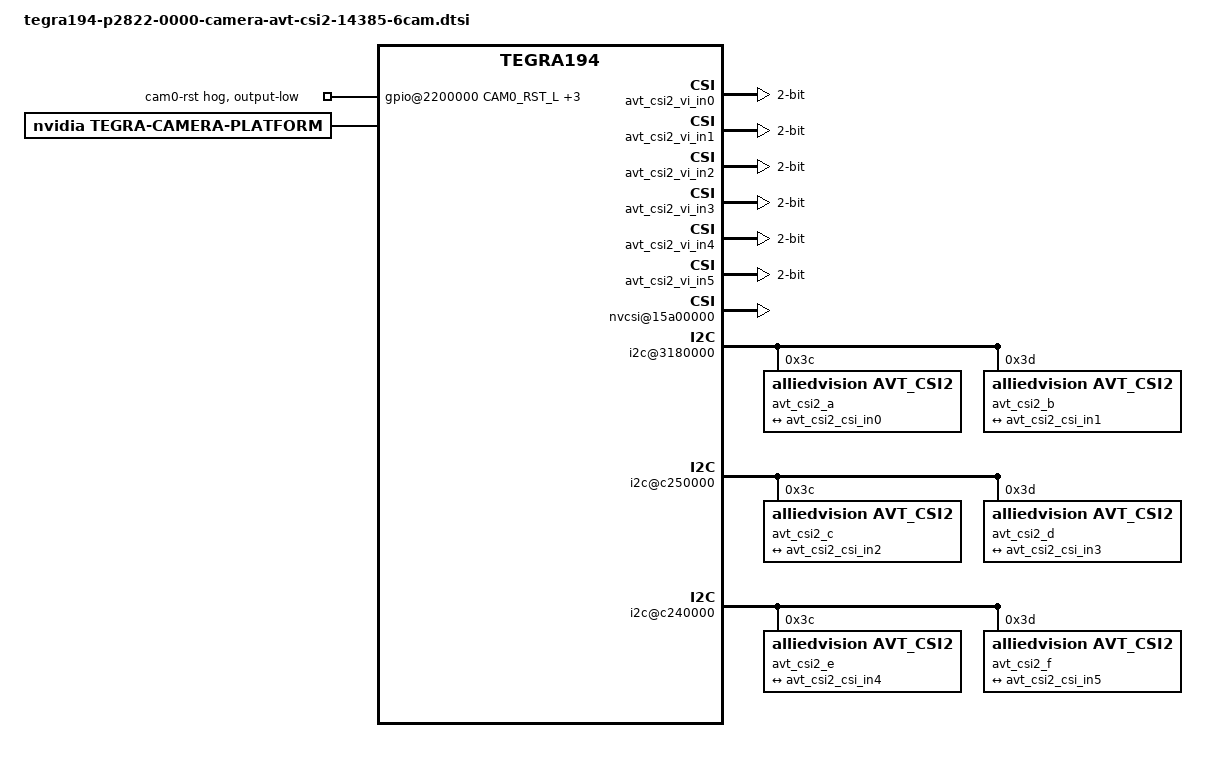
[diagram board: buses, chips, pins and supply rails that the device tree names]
/*
 * Copyright (c) 2015-2018, NVIDIA CORPORATION.  All rights reserved.
 *
 * This program is free software; you can redistribute it and/or modify
 * it under the terms of the GNU General Public License as published by
 * the Free Software Foundation; either version 2 of the License, or
 * (at your option) any later version.
 *
 * This program is distributed in the hope that it will be useful, but WITHOUT
 * ANY WARRANTY; without even the implied warranty of MERCHANTABILITY or
 * FITNESS FOR A PARTICULAR PURPOSE.  See the GNU General Public License for
 * more details.
 *
 * You should have received a copy of the GNU General Public License
 * along with this program.  If not, see <http://www.gnu.org/licenses/>.
 */
#include "dt-bindings/clock/tegra194-clock.h"

#define CAM0_RST_L	TEGRA194_MAIN_GPIO(H, 3)
#define CAM0_PWDN	TEGRA194_MAIN_GPIO(H, 6)
#define CAM1_RST_L	TEGRA194_MAIN_GPIO(T, 6)
#define CAM1_PWDN	TEGRA194_MAIN_GPIO(T, 5)
#define CAMERA_I2C_MUX_BUS(x) (0x1E + x)

/ {
	gpio@2200000 {
		camera-control-output-low {
			gpio-hog;
			output-low;
			gpios = <CAM0_RST_L 0 CAM0_PWDN 0
				 CAM1_RST_L 0 CAM1_PWDN 0>;
			label = "cam0-rst", "cam0-pwdn",
				"cam1-rst", "cam1-pwdn";
		};
	};

	host1x {
		vi@15c10000 {
			status = "okay";
			num-channels = <6>;
      ports {
        #address-cells = <1>;
        #size-cells = <0>;
        port@0 {
          status ="okay";
          reg = <0>;
          avt_csi2_vi_in0: endpoint {
            status = "okay";
            port-index = <0>;
            bus-width = <2>;
            remote-endpoint = <&avt_csi2_csi_out0>;
          };
        };
        port@1 {
          status ="okay";
          reg = <1>;
          avt_csi2_vi_in1: endpoint {
            status = "okay";
            port-index = <1>;
            bus-width = <2>;
            remote-endpoint = <&avt_csi2_csi_out1>;
          };
        };
        port@2 {
          status ="okay";
          reg = <2>;
          avt_csi2_vi_in2: endpoint {
            status = "okay";
            port-index = <2>;
            bus-width = <2>;
            remote-endpoint = <&avt_csi2_csi_out2>;
          };
        };
        port@3 {
          status ="okay";
          reg = <3>;
          avt_csi2_vi_in3: endpoint {
            status = "okay";
            port-index = <3>;
            bus-width = <2>;
            remote-endpoint = <&avt_csi2_csi_out3>;
          };
        };
        port@4 {
          status ="okay";
          reg = <4>;
          avt_csi2_vi_in4: endpoint {
            status = "okay";
            port-index = <4>;
            bus-width = <2>;
            remote-endpoint = <&avt_csi2_csi_out4>;
          };
        };
        port@5 {
          status ="okay";
          reg = <5>;
          avt_csi2_vi_in5: endpoint {
            status = "okay";
            port-index = <5>;
            bus-width = <2>;
            remote-endpoint = <&avt_csi2_csi_out5>;
          };
        };
      };
		};

		nvcsi@15a00000 {
			status = "okay";
			num-channels = <6>;
			#address-cells = <1>;
			#size-cells = <0>;
			channel@0 {
				status = "okay";
				reg = <0>;
				ports {
					#address-cells = <1>;
					#size-cells = <0>;
					port@0 {
						status = "okay";
						reg = <0>;
						avt_csi2_csi_in0: endpoint@0 {
							status = "okay";
							port-index = <0>;
							bus-width = <2>;
							remote-endpoint = <&avt_csi2_out0>;
						};
					};
					port@1 {
						status = "okay";
						reg = <1>;
						avt_csi2_csi_out0: endpoint@1 {
							status = "okay";
							remote-endpoint = <&avt_csi2_vi_in0>;
						};
					};
				};
			};
			channel@1 {
				status = "okay";
				reg = <1>;
				ports {
					#address-cells = <1>;
					#size-cells = <0>;
					port@0 {
						status = "okay";
						reg = <0>;
						avt_csi2_csi_in1: endpoint@2 {
							status = "okay";
							port-index = <1>;
							bus-width = <2>;
							remote-endpoint = <&avt_csi2_out1>;
						};
					};
					port@1 {
						status = "okay";
						reg = <1>;
						avt_csi2_csi_out1: endpoint@3 {
							status = "okay";
							remote-endpoint = <&avt_csi2_vi_in1>;
						};
					};
				};
			};
			channel@2 {
				status = "okay";
				reg = <2>;
				ports {
					#address-cells = <1>;
					#size-cells = <0>;
					port@0 {
						status = "okay";
						reg = <0>;
						avt_csi2_csi_in2: endpoint@4 {
							status = "okay";
							port-index = <2>;
							bus-width = <2>;
							remote-endpoint = <&avt_csi2_out2>;
						};
					};
					port@1 {
						status = "okay";
						reg = <1>;
						avt_csi2_csi_out2: endpoint@5 {
							status = "okay";
							remote-endpoint = <&avt_csi2_vi_in2>;
						};
					};
				};
			};
			channel@3 {
				status = "okay";
				reg = <3>;
				ports {
					#address-cells = <1>;
					#size-cells = <0>;
					port@0 {
						status = "okay";
						reg = <0>;
						avt_csi2_csi_in3: endpoint@6 {
							status = "okay";
							port-index = <3>;
							bus-width = <2>;
							remote-endpoint = <&avt_csi2_out3>;
						};
					};
					port@1 {
						status = "okay";
						reg = <1>;
						avt_csi2_csi_out3: endpoint@7 {
							status = "okay";
							remote-endpoint = <&avt_csi2_vi_in3>;
						};
					};
				};
			};
			channel@4 {
				status = "okay";
				reg = <4>;
				ports {
					#address-cells = <1>;
					#size-cells = <0>;
					port@0 {
						status = "okay";
						reg = <0>;
						avt_csi2_csi_in4: endpoint@8 {
							status = "okay";
							port-index = <4>;
							bus-width = <2>;
							remote-endpoint = <&avt_csi2_out4>;
						};
					};
					port@1 {
						status = "okay";
						reg = <1>;
						avt_csi2_csi_out4: endpoint@9 {
							status = "okay";
							remote-endpoint = <&avt_csi2_vi_in4>;
						};
					};
				};
			};
			channel@5 {
				status = "okay";
				reg = <5>;
				ports {
					#address-cells = <1>;
					#size-cells = <0>;
					port@0 {
						status = "okay";
						reg = <0>;
						avt_csi2_csi_in5: endpoint@10 {
							status = "okay";
							port-index = <6>;
							bus-width = <2>;
							remote-endpoint = <&avt_csi2_out5>;
						};
					};
					port@1 {
						status = "okay";
						reg = <1>;
						avt_csi2_csi_out5: endpoint@11 {
							status = "okay";
							remote-endpoint = <&avt_csi2_vi_in5>;
						};
					};
				};
			};
		};
	};

	tegra-camera-platform {
		compatible = "nvidia, tegra-camera-platform";
		status = "okay";
		/**
		* Physical settings to calculate max ISO BW
		*
		* num_csi_lanes = <>;
		* Total number of CSI lanes when all cameras are active
		*
		* max_lane_speed = <>;
		* Max lane speed in Kbit/s
		*
		* min_bits_per_pixel = <>;
		* Min bits per pixel
		*
		* vi_peak_byte_per_pixel = <>;
		* Max byte per pixel for the VI ISO case
		*
		* vi_bw_margin_pct = <>;
		* Vi bandwidth margin in percentage
		*
		* max_pixel_rate = <>;
		* Max pixel rate in Kpixel/s for the ISP ISO case
		*
		* isp_peak_byte_per_pixel = <>;
		* Max byte per pixel for the ISP ISO case
		*
		* isp_bw_margin_pct = <>;
		* Isp bandwidth margin in percentage
		*/
		num_csi_lanes = <16>;
		max_lane_speed = <1500000>;
		min_bits_per_pixel = <8>;
		vi_peak_byte_per_pixel = <2>;
		vi_bw_margin_pct = <25>;
		max_pixel_rate = <160000>;
		isp_peak_byte_per_pixel = <5>;
		isp_bw_margin_pct = <25>;

		/**
		* The general guideline for naming badge_info contains 3 parts, and is as follows,
		* The first part is the camera_board_id for the module; if the module is in a FFD
		* platform, then use the platform name for this part.
		* The second part contains the position of the module, ex. “rear” or “front”.
		* The third part contains the last 6 characters of a part number which is found
		* in the module's specsheet from the vender.
		*/
		modules {
			status = "okay";
			module0 {
				status = "okay";
				badge = "avt_csi2";
				position = "front";
				orientation = "1";
				drivernode0 {
					status = "okay";
					/* Declare PCL support driver (classically known as guid)  */
					pcl_id = "v4l2_sensor";
					/* Driver v4l2 device name */
					devname = "avt_csi2 2-003c";
					/* Declare the device-tree hierarchy to driver instance */
					proc-device-tree = "/proc/device-tree/i2c@3180000/avt_csi2@3c";
				};
			};

			module1 {
				status = "okay";
				badge = "avt_csi2";
				position = "back";
				orientation = "1";
				drivernode0 {
					status = "okay";
					/* Declare PCL support driver (classically known as guid)  */
					pcl_id = "v4l2_sensor";
					/* Driver v4l2 device name */
					devname = "avt_csi2 7-003c";
					/* Declare the device-tree hierarchy to driver instance */
					proc-device-tree = "/proc/device-tree/i2c@c250000/avt_csi2@3c";
				};
			};
		};
	};

	i2c@3180000 {
		status = "okay";
		avt_csi2_a@3c {
			status = "okay";
			devnode = "video0";
			compatible = "alliedvision,avt_csi2";
			reg = <0x3c>;

			ports {
				#address-cells = <1>;
				#size-cells = <0>;

				port@0 {
					reg = <0>;
					avt_csi2_out0: endpoint {
						port-index = <0>;
						bus-width = <2>;
						remote-endpoint = <&avt_csi2_csi_in0>;
					};
				};
			};

			mode0 {
				num_lanes = "2";
                tegra_sinterface = "serial_a";
				discontinuous_clk = "no";
				cil_settletime = "0";
				embedded_metadata_height = "0";

				/* not verified: */
				mclk_khz = "24000";
				phy_mode = "DPHY";
				dpcm_enable = "false";

				active_w = "5488";
				active_h = "4112";
				pixel_t = "bayer_bggr";
				readout_orientation = "0";
				line_length = "5488";
				inherent_gain = "1";
				mclk_multiplier = "31.25";
				pix_clk_hz = "750000000";

				gain_factor = "16";
				framerate_factor = "1000000";
				exposure_factor = "1000000";
				min_gain_val = "16"; /* 1.0 */
				max_gain_val = "256"; /* 16.0 */
				step_gain_val = "1"; /* 0.125 */
				min_hdr_ratio = "1";
				max_hdr_ratio = "64";
				min_framerate = "1500000"; /* 1.5 */
				max_framerate = "30000000"; /* 30 */
				step_framerate = "1";
				min_exp_time = "34"; /* us */
				max_exp_time = "550385"; /* us */
				step_exp_time = "1";
			};
		};
		avt_csi2_b@3d {
			status = "okay";
			devnode = "video1";
			compatible = "alliedvision,avt_csi2";
			reg = <0x3d>;

			ports {
				#address-cells = <1>;
				#size-cells = <0>;

				port@0 {
					reg = <0>;
					avt_csi2_out1: endpoint {
						port-index = <1>;
						bus-width = <2>;
						remote-endpoint = <&avt_csi2_csi_in1>;
					};
				};
			};

			mode0 {
				num_lanes = "2";
                tegra_sinterface = "serial_b";
				discontinuous_clk = "no";
				cil_settletime = "0";
				embedded_metadata_height = "0";

				/* not verified: */
				mclk_khz = "24000";
				phy_mode = "DPHY";
				dpcm_enable = "false";

				active_w = "5488";
				active_h = "4112";
				pixel_t = "bayer_bggr";
				readout_orientation = "0";
				line_length = "5488";
				inherent_gain = "1";
				mclk_multiplier = "31.25";
				pix_clk_hz = "750000000";

				gain_factor = "16";
				framerate_factor = "1000000";
				exposure_factor = "1000000";
				min_gain_val = "16"; /* 1.0 */
				max_gain_val = "256"; /* 16.0 */
				step_gain_val = "1"; /* 0.125 */
				min_hdr_ratio = "1";
				max_hdr_ratio = "64";
				min_framerate = "1500000"; /* 1.5 */
				max_framerate = "30000000"; /* 30 */
				step_framerate = "1";
				min_exp_time = "34"; /* us */
				max_exp_time = "550385"; /* us */
				step_exp_time = "1";
			};
		};
	};

  i2c@c250000 {
		pinctrl-names = "default";
		pinctrl-0 = <&gen8_i2c_pinctrl>;
		avt_csi2_c@3c {
			status = "okay";
			devnode = "video2";
			clocks = <&bpmp_clks TEGRA194_CLK_EXTPERIPH1>,
				 <&bpmp_clks TEGRA194_CLK_PLLP_OUT0>;
			clock-names = "extperiph1", "pllp_grtba";
			mclk = "extperiph1";
			compatible = "alliedvision,avt_csi2";
			reg = <0x3c>;

			ports {
				#address-cells = <1>;
				#size-cells = <0>;

				port@0 {
					reg = <0>;
					avt_csi2_out2: endpoint {
						port-index = <2>;
						bus-width = <2>;
						remote-endpoint = <&avt_csi2_csi_in2>;
					};
				};
			};

			mode0 {
				num_lanes = "2";
                tegra_sinterface = "serial_c"; // b/c ok
				discontinuous_clk = "no";
				cil_settletime = "0";
				embedded_metadata_height = "0";

				/* not verified: */
				mclk_khz = "24000";
				phy_mode = "DPHY";
				dpcm_enable = "false";

				active_w = "5488";
				active_h = "4112";
				pixel_t = "bayer_bggr";
				readout_orientation = "0";
				line_length = "5488";
				inherent_gain = "1";
				mclk_multiplier = "31.25";
				pix_clk_hz = "750000000";

				gain_factor = "16";
				framerate_factor = "1000000";
				exposure_factor = "1000000";
				min_gain_val = "16"; /* 1.0 */
				max_gain_val = "256"; /* 16.0 */
				step_gain_val = "1"; /* 0.125 */
				min_hdr_ratio = "1";
				max_hdr_ratio = "64";
				min_framerate = "1500000"; /* 1.5 */
				max_framerate = "30000000"; /* 30 */
				step_framerate = "1";
				min_exp_time = "34"; /* us */
				max_exp_time = "550385"; /* us */
				step_exp_time = "1";
			};
		};
		avt_csi2_d@3d {
			status = "okay";
			devnode = "video3";
			compatible = "alliedvision,avt_csi2";
			reg = <0x3d>;

			mclk = "extperiph1";
			ports {
				#address-cells = <1>;
				#size-cells = <0>;

				port@0 {
					reg = <0>;
					avt_csi2_out3: endpoint {
						port-index = <3>;
						bus-width = <2>;
						remote-endpoint = <&avt_csi2_csi_in3>;
					};
				};
			};

			mode0 {
				num_lanes = "2";
                tegra_sinterface = "serial_d"; // b/c ok
				discontinuous_clk = "no";
				cil_settletime = "0";
				embedded_metadata_height = "0";

				/* not verified: */
				mclk_khz = "24000";
				phy_mode = "DPHY";
				dpcm_enable = "false";

				active_w = "5488";
				active_h = "4112";
				pixel_t = "bayer_bggr";
				readout_orientation = "0";
				line_length = "5488";
				inherent_gain = "1";
				mclk_multiplier = "31.25";
				pix_clk_hz = "750000000";

				gain_factor = "16";
				framerate_factor = "1000000";
				exposure_factor = "1000000";
				min_gain_val = "16"; /* 1.0 */
				max_gain_val = "256"; /* 16.0 */
				step_gain_val = "1"; /* 0.125 */
				min_hdr_ratio = "1";
				max_hdr_ratio = "64";
				min_framerate = "1500000"; /* 1.5 */
				max_framerate = "30000000"; /* 30 */
				step_framerate = "1";
				min_exp_time = "34"; /* us */
				max_exp_time = "550385"; /* us */
				step_exp_time = "1";
			};
		};
	};

	i2c@c240000 {
		status = "okay";
		avt_csi2_e@3c {
			status = "okay";
			devnode = "video4";
			compatible = "alliedvision,avt_csi2";
			reg = <0x3c>;

			ports {
				#address-cells = <1>;
				#size-cells = <0>;

				port@0 {
					reg = <0>;
					avt_csi2_out4: endpoint {
						port-index = <4>;
						bus-width = <2>;
						remote-endpoint = <&avt_csi2_csi_in4>;
					};
				};
			};

			mode0 {
				num_lanes = "2";
                tegra_sinterface = "serial_e";
				discontinuous_clk = "no";
				cil_settletime = "0";
				embedded_metadata_height = "0";

				/* not verified: */
				mclk_khz = "24000";
				phy_mode = "DPHY";
				dpcm_enable = "false";

				active_w = "5488";
				active_h = "4112";
				pixel_t = "bayer_bggr";
				readout_orientation = "0";
				line_length = "5488";
				inherent_gain = "1";
				mclk_multiplier = "31.25"; //"18.75"; //"31.25";
				pix_clk_hz = "750000000"; //"450000000"; //"750000000";

				gain_factor = "16";
				framerate_factor = "1000000";
				exposure_factor = "1000000";
				min_gain_val = "16"; /* 1.0 */
				max_gain_val = "256"; /* 16.0 */
				step_gain_val = "1"; /* 0.125 */
				min_hdr_ratio = "1";
				max_hdr_ratio = "64";
				min_framerate = "1500000"; /* 1.5 */
				max_framerate = "30000000"; /* 30 */
				step_framerate = "1";
				min_exp_time = "34"; /* us */
				max_exp_time = "550385"; /* us */
				step_exp_time = "1";
			};
		};
		avt_csi2_f@3d {
			status = "okay";
			devnode = "video5";
			compatible = "alliedvision,avt_csi2";
			reg = <0x3d>;

			ports {
				#address-cells = <1>;
				#size-cells = <0>;

				port@0 {
					reg = <0>;
					avt_csi2_out5: endpoint {
						port-index = <6>;
						bus-width = <2>;
						remote-endpoint = <&avt_csi2_csi_in5>;
					};
				};
			};

			mode0 {
				num_lanes = "2";
        tegra_sinterface = "serial_g";
				discontinuous_clk = "no";
				cil_settletime = "0";
				embedded_metadata_height = "0";

				/* not verified: */
				mclk_khz = "24000";
				phy_mode = "DPHY";
				dpcm_enable = "false";

				active_w = "5488";
				active_h = "4112";
				pixel_t = "bayer_bggr";
				readout_orientation = "0";
				line_length = "5488";
				inherent_gain = "1";
				mclk_multiplier = "31.25"; //"18.75"; //"31.25";
				pix_clk_hz = "750000000"; //"450000000"; //"750000000";

				gain_factor = "16";
				framerate_factor = "1000000";
				exposure_factor = "1000000";
				min_gain_val = "16"; /* 1.0 */
				max_gain_val = "256"; /* 16.0 */
				step_gain_val = "1"; /* 0.125 */
				min_hdr_ratio = "1";
				max_hdr_ratio = "64";
				min_framerate = "1500000"; /* 1.5 */
				max_framerate = "30000000"; /* 30 */
				step_framerate = "1";
				min_exp_time = "34"; /* us */
				max_exp_time = "550385"; /* us */
				step_exp_time = "1";
			};
		};
	};

	pinmux@2430000 {
		gen8_i2c_pinctrl: gen8_i2c_pinctrl {
			gen8_i2c_scl {
				nvidia,pins = "gen8_i2c_scl_pdd1";
				nvidia,schmitt = <TEGRA_PIN_DISABLE>;
				nvidia,lpdr = <TEGRA_PIN_DISABLE>;
				nvidia,enable-input = <TEGRA_PIN_ENABLE>;
				nvidia,io-high-voltage = <TEGRA_PIN_DISABLE>;
				nvidia,tristate = <TEGRA_PIN_DISABLE>;
				nvidia,pull = <TEGRA_PIN_PULL_NONE>;
			};
			gen8_i2c_sda {
				nvidia,pins = "gen8_i2c_sda_pdd2";
				nvidia,schmitt = <TEGRA_PIN_DISABLE>;
				nvidia,lpdr = <TEGRA_PIN_DISABLE>;
				nvidia,enable-input = <TEGRA_PIN_ENABLE>;
				nvidia,io-high-voltage = <TEGRA_PIN_DISABLE>;
				nvidia,tristate = <TEGRA_PIN_DISABLE>;
				nvidia,pull = <TEGRA_PIN_PULL_NONE>;
			};
		};
	};
};
